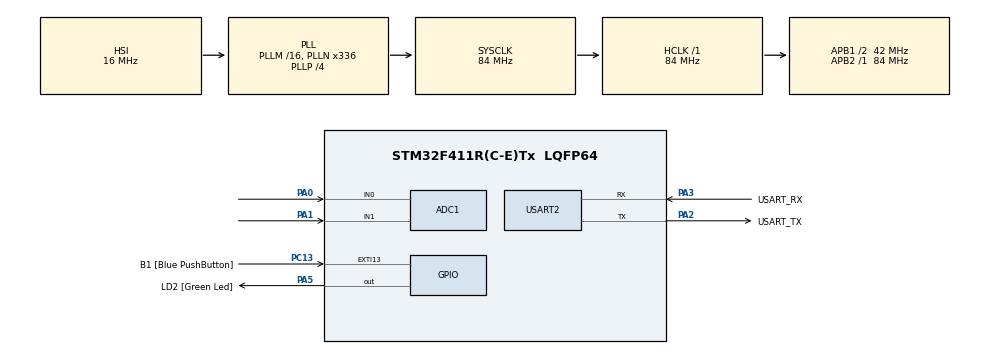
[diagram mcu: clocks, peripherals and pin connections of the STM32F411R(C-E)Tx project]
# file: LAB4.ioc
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ADC1.Channel-0\#ChannelRegularConversion=ADC_CHANNEL_0
ADC1.Channel-1\#ChannelRegularConversion=ADC_CHANNEL_1
ADC1.Channel-2\#ChannelRegularConversion=ADC_CHANNEL_TEMPSENSOR
ADC1.Channel-3\#ChannelRegularConversion=ADC_CHANNEL_VREFINT
ADC1.ContinuousConvMode=ENABLE
ADC1.DMAContinuousRequests=ENABLE
ADC1.NbrOfConversion=4
ADC1.NbrOfConversionFlag=1
ADC1.Rank-0\#ChannelRegularConversion=1
ADC1.Rank-1\#ChannelRegularConversion=2
ADC1.Rank-2\#ChannelRegularConversion=3
ADC1.Rank-3\#ChannelRegularConversion=4
ADC1.SamplingTime-0\#ChannelRegularConversion=ADC_SAMPLETIME_3CYCLES
ADC1.SamplingTime-1\#ChannelRegularConversion=ADC_SAMPLETIME_3CYCLES
ADC1.SamplingTime-2\#ChannelRegularConversion=ADC_SAMPLETIME_3CYCLES
ADC1.SamplingTime-3\#ChannelRegularConversion=ADC_SAMPLETIME_3CYCLES
ADC1.ScanConvMode=ENABLE
ADC1.master=1
Dma.ADC1.0.Direction=DMA_PERIPH_TO_MEMORY
Dma.ADC1.0.FIFOMode=DMA_FIFOMODE_DISABLE
Dma.ADC1.0.Instance=DMA2_Stream0
Dma.ADC1.0.MemDataAlignment=DMA_MDATAALIGN_WORD
Dma.ADC1.0.MemInc=DMA_MINC_ENABLE
Dma.ADC1.0.Mode=DMA_CIRCULAR
Dma.ADC1.0.PeriphDataAlignment=DMA_PDATAALIGN_WORD
Dma.ADC1.0.PeriphInc=DMA_PINC_DISABLE
Dma.ADC1.0.Priority=DMA_PRIORITY_LOW
Dma.Request0=ADC1
Mcu.Family=STM32F4
Mcu.Name=STM32F411R(C-E)Tx
Mcu.Package=LQFP64
NVIC.DMA2_Stream0_IRQn=true\:0\:0\:false\:false\:true\:false\:true
NVIC.EXTI15_10_IRQn=true\:0\:0\:false\:false\:true\:true\:true
NVIC.PriorityGroup=NVIC_PRIORITYGROUP_0
PA0-WKUP.Signal=ADCx_IN0
PA1.Signal=ADCx_IN1
PA13.GPIO_Label=TMS
PA13.Mode=Serial_Wire
PA13.Signal=SYS_JTMS-SWDIO
PA14.GPIO_Label=TCK
PA14.Mode=Serial_Wire
PA14.Signal=SYS_JTCK-SWCLK
PA2.GPIO_Label=USART_TX
PA2.Mode=Asynchronous
PA2.Signal=USART2_TX
PA3.GPIO_Label=USART_RX
PA3.Mode=Asynchronous
PA3.Signal=USART2_RX
PA5.GPIO_Label=LD2 [Green Led]
PA5.Signal=GPIO_Output
PB3.GPIO_Label=SWO
PB3.Signal=SYS_JTDO-SWO
PC13-ANTI_TAMP.GPIO_Label=B1 [Blue PushButton]
PC13-ANTI_TAMP.GPIO_ModeDefaultEXTI=GPIO_MODE_IT_FALLING
PC13-ANTI_TAMP.GPIO_PuPd=GPIO_PULLUP
PC13-ANTI_TAMP.Signal=GPXTI13
PC14-OSC32_IN.Mode=LSE-External-Oscillator
PC14-OSC32_IN.Signal=RCC_OSC32_IN
PC15-OSC32_OUT.Mode=LSE-External-Oscillator
PC15-OSC32_OUT.Signal=RCC_OSC32_OUT
PH0\ -\ OSC_IN.Mode=HSE-External-Clock-Source
PH0\ -\ OSC_IN.Signal=RCC_OSC_IN
PH1\ -\ OSC_OUT.Mode=HSE-External-Clock-Source
PH1\ -\ OSC_OUT.Signal=RCC_OSC_OUT
ProjectManager.HeapSize=0x200
ProjectManager.StackSize=0x400
ProjectManager.TargetToolchain=STM32CubeIDE
RCC.48MHZClocksFreq_Value=84000000
RCC.AHBFreq_Value=84000000
RCC.APB1CLKDivider=RCC_HCLK_DIV2
RCC.APB1Freq_Value=42000000
RCC.APB1TimFreq_Value=84000000
RCC.APB2Freq_Value=84000000
RCC.APB2TimFreq_Value=84000000
RCC.CortexFreq_Value=84000000
RCC.FLatency-AdvancedSettings=FLASH_LATENCY_2
RCC.HCLKFreq_Value=84000000
RCC.HSE_VALUE=8000000
RCC.HSI_VALUE=16000000
RCC.PLLN=336
RCC.PLLP=RCC_PLLP_DIV4
RCC.SYSCLKFreq_VALUE=84000000
RCC.SYSCLKSource=RCC_SYSCLKSOURCE_PLLCLK
RCC.VCOOutputFreq_Value=336000000
SH.ADCx_IN0.0=ADC1_IN0,IN0
SH.ADCx_IN1.0=ADC1_IN1,IN1
USART2.VirtualMode=VM_ASYNC
VP_ADC1_TempSens_Input.Mode=IN-TempSens
VP_ADC1_Vref_Input.Mode=IN-Vrefint
board=NUCLEO-F411RE

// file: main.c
/* USER CODE BEGIN Header */
/**
  ******************************************************************************
  * @file           : main.c
  * @brief          : Main program body
  ******************************************************************************
  * @attention
  *
  * <h2><center>&copy; Copyright (c) 2021 STMicroelectronics.
  * All rights reserved.</center></h2>
  *
  * This software component is licensed by ST under BSD 3-Clause license,
  * the "License"; You may not use this file except in compliance with the
  * License. You may obtain a copy of the License at:
  *                        opensource.org/licenses/BSD-3-Clause
  *
  ******************************************************************************
  */
/* USER CODE END Header */
#include "main.h"

ADC_HandleTypeDef hadc1;
DMA_HandleTypeDef hdma_adc1;

UART_HandleTypeDef huart2;

/* USER CODE BEGIN PV */
/*----------กำหนดตัวแปรต่างๆ-----------*/
uint32_t ADCData[4]={0};
GPIO_PinState ModeState[2];
uint32_t TimeStamp = 0;
uint32_t RandomTime = 0;
uint32_t TimeGetNow =0;
uint32_t WhatTime = 0;

/* USER CODE END PV */

void SystemClock_Config(void);
static void MX_GPIO_Init(void);
static void MX_DMA_Init(void);
static void MX_USART2_UART_Init(void);
static void MX_ADC1_Init(void);

int main(void)
{

  /* MCU Configuration--------------------------------------------------------*/

  /* Reset of all peripherals, Initializes the Flash interface and the Systick. */
  HAL_Init();

  /* Configure the system clock */
  SystemClock_Config();

  /* Initialize all configured peripherals */
  MX_GPIO_Init();
  MX_DMA_Init();
  MX_USART2_UART_Init();
  MX_ADC1_Init();
  /* USER CODE BEGIN 2 */
  HAL_ADC_Start_DMA(&hadc1, ADCData, 4);
  /* USER CODE END 2 */

  /* Infinite loop */
  while (1)
  {

    /* USER CODE BEGIN 3 */
/*-----------------------------ดูว่ามีการกดปุ่มหรือไม่----------------------------------*/
	if(HAL_GetTick() - TimeStamp >= RandomTime)
	{
		HAL_GPIO_WritePin(LD2_GPIO_Port, LD2_Pin, 1);
	}
	else
	{
		HAL_GPIO_WritePin(LD2_GPIO_Port, LD2_Pin, 0);
	}

  }
  /* USER CODE END 3 */
}

void SystemClock_Config(void)
{
  RCC_OscInitTypeDef RCC_OscInitStruct = {0};
  RCC_ClkInitTypeDef RCC_ClkInitStruct = {0};

  /** Configure the main internal regulator output voltage
  */
  __HAL_RCC_PWR_CLK_ENABLE();
  __HAL_PWR_VOLTAGESCALING_CONFIG(PWR_REGULATOR_VOLTAGE_SCALE1);
  /** Initializes the RCC Oscillators according to the specified parameters
  * in the RCC_OscInitTypeDef structure.
  */
  RCC_OscInitStruct.OscillatorType = RCC_OSCILLATORTYPE_HSI;
  RCC_OscInitStruct.HSIState = RCC_HSI_ON;
  RCC_OscInitStruct.HSICalibrationValue = RCC_HSICALIBRATION_DEFAULT;
  RCC_OscInitStruct.PLL.PLLState = RCC_PLL_ON;
  RCC_OscInitStruct.PLL.PLLSource = RCC_PLLSOURCE_HSI;
  RCC_OscInitStruct.PLL.PLLM = 16;
  RCC_OscInitStruct.PLL.PLLN = 336;
  RCC_OscInitStruct.PLL.PLLP = RCC_PLLP_DIV4;
  RCC_OscInitStruct.PLL.PLLQ = 4;
  if (HAL_RCC_OscConfig(&RCC_OscInitStruct) != HAL_OK)
  {
    Error_Handler();
  }
  /** Initializes the CPU, AHB and APB buses clocks
  */
  RCC_ClkInitStruct.ClockType = RCC_CLOCKTYPE_HCLK|RCC_CLOCKTYPE_SYSCLK
                              |RCC_CLOCKTYPE_PCLK1|RCC_CLOCKTYPE_PCLK2;
  RCC_ClkInitStruct.SYSCLKSource = RCC_SYSCLKSOURCE_PLLCLK;
  RCC_ClkInitStruct.AHBCLKDivider = RCC_SYSCLK_DIV1;
  RCC_ClkInitStruct.APB1CLKDivider = RCC_HCLK_DIV2;
  RCC_ClkInitStruct.APB2CLKDivider = RCC_HCLK_DIV1;

  if (HAL_RCC_ClockConfig(&RCC_ClkInitStruct, FLASH_LATENCY_2) != HAL_OK)
  {
    Error_Handler();
  }
}

static void MX_ADC1_Init(void)
{

  ADC_ChannelConfTypeDef sConfig = {0};

  /** Configure the global features of the ADC (Clock, Resolution, Data Alignment and number of conversion)
  */
  hadc1.Instance = ADC1;
  hadc1.Init.ClockPrescaler = ADC_CLOCK_SYNC_PCLK_DIV4;
  hadc1.Init.Resolution = ADC_RESOLUTION_12B;
  hadc1.Init.ScanConvMode = ENABLE;
  hadc1.Init.ContinuousConvMode = ENABLE;
  hadc1.Init.DiscontinuousConvMode = DISABLE;
  hadc1.Init.ExternalTrigConvEdge = ADC_EXTERNALTRIGCONVEDGE_NONE;
  hadc1.Init.ExternalTrigConv = ADC_SOFTWARE_START;
  hadc1.Init.DataAlign = ADC_DATAALIGN_RIGHT;
  hadc1.Init.NbrOfConversion = 4;
  hadc1.Init.DMAContinuousRequests = ENABLE;
  hadc1.Init.EOCSelection = ADC_EOC_SINGLE_CONV;
  if (HAL_ADC_Init(&hadc1) != HAL_OK)
  {
    Error_Handler();
  }
  /** Configure for the selected ADC regular channel its corresponding rank in the sequencer and its sample time.
  */
  sConfig.Channel = ADC_CHANNEL_0;
  sConfig.Rank = 1;
  sConfig.SamplingTime = ADC_SAMPLETIME_480CYCLES;
  if (HAL_ADC_ConfigChannel(&hadc1, &sConfig) != HAL_OK)
  {
    Error_Handler();
  }
  /** Configure for the selected ADC regular channel its corresponding rank in the sequencer and its sample time.
  */
  sConfig.Channel = ADC_CHANNEL_1;
  sConfig.Rank = 2;
  if (HAL_ADC_ConfigChannel(&hadc1, &sConfig) != HAL_OK)
  {
    Error_Handler();
  }
  /** Configure for the selected ADC regular channel its corresponding rank in the sequencer and its sample time.
  */
  sConfig.Channel = ADC_CHANNEL_TEMPSENSOR;
  sConfig.Rank = 3;
  if (HAL_ADC_ConfigChannel(&hadc1, &sConfig) != HAL_OK)
  {
    Error_Handler();
  }
  /** Configure for the selected ADC regular channel its corresponding rank in the sequencer and its sample time.
  */
  sConfig.Channel = ADC_CHANNEL_VREFINT;
  sConfig.Rank = 4;
  if (HAL_ADC_ConfigChannel(&hadc1, &sConfig) != HAL_OK)
  {
    Error_Handler();
  }

}

static void MX_USART2_UART_Init(void)
{

  huart2.Instance = USART2;
  huart2.Init.BaudRate = 115200;
  huart2.Init.WordLength = UART_WORDLENGTH_8B;
  huart2.Init.StopBits = UART_STOPBITS_1;
  huart2.Init.Parity = UART_PARITY_NONE;
  huart2.Init.Mode = UART_MODE_TX_RX;
  huart2.Init.HwFlowCtl = UART_HWCONTROL_NONE;
  huart2.Init.OverSampling = UART_OVERSAMPLING_16;
  if (HAL_UART_Init(&huart2) != HAL_OK)
  {
    Error_Handler();
  }

}

static void MX_DMA_Init(void)
{

  /* DMA controller clock enable */
  __HAL_RCC_DMA2_CLK_ENABLE();

  /* DMA interrupt init */
  /* DMA2_Stream0_IRQn interrupt configuration */
  HAL_NVIC_SetPriority(DMA2_Stream0_IRQn, 0, 0);
  HAL_NVIC_EnableIRQ(DMA2_Stream0_IRQn);

}

static void MX_GPIO_Init(void)
{
  GPIO_InitTypeDef GPIO_InitStruct = {0};

  /* GPIO Ports Clock Enable */
  __HAL_RCC_GPIOC_CLK_ENABLE();
  __HAL_RCC_GPIOH_CLK_ENABLE();
  __HAL_RCC_GPIOA_CLK_ENABLE();
  __HAL_RCC_GPIOB_CLK_ENABLE();

  /*Configure GPIO pin Output Level */
  HAL_GPIO_WritePin(LD2_GPIO_Port, LD2_Pin, GPIO_PIN_SET);

  /*Configure GPIO pin : B1_Pin */
  GPIO_InitStruct.Pin = B1_Pin;
  GPIO_InitStruct.Mode = GPIO_MODE_IT_RISING_FALLING;
  GPIO_InitStruct.Pull = GPIO_NOPULL;
  HAL_GPIO_Init(B1_GPIO_Port, &GPIO_InitStruct);

  /*Configure GPIO pin : LD2_Pin */
  GPIO_InitStruct.Pin = LD2_Pin;
  GPIO_InitStruct.Mode = GPIO_MODE_OUTPUT_PP;
  GPIO_InitStruct.Pull = GPIO_NOPULL;
  GPIO_InitStruct.Speed = GPIO_SPEED_FREQ_LOW;
  HAL_GPIO_Init(LD2_GPIO_Port, &GPIO_InitStruct);

  /* EXTI interrupt init*/
  HAL_NVIC_SetPriority(EXTI15_10_IRQn, 0, 0);
  HAL_NVIC_EnableIRQ(EXTI15_10_IRQn);

}

/* USER CODE BEGIN 4 */
void HAL_GPIO_EXTI_Callback(uint16_t GPIO_Pin)
{

	if(GPIO_Pin == GPIO_PIN_13)
		{
			ModeState[0] = HAL_GPIO_ReadPin(GPIOC, GPIO_PIN_13);
			if(ModeState[0] == 0 && ModeState[1] == 1)
			{
				RandomTime = (1000 + (( 22695477 * ADCData[0] ) + ADCData[1] ) % 10000) ;
				TimeStamp = HAL_GetTick();
				TimeGetNow = HAL_GetTick();
			}
			if(ModeState[0] == 1 && ModeState[1] == 0)
			{
				WhatTime = ((HAL_GetTick() - TimeGetNow) - RandomTime);
			}
			ModeState[1] = ModeState[0];
		}
}
/* USER CODE END 4 */

void Error_Handler(void)
{
  __disable_irq();
  while (1)
  {
  }
}

/************************ (C) COPYRIGHT STMicroelectronics *****END OF FILE****/
